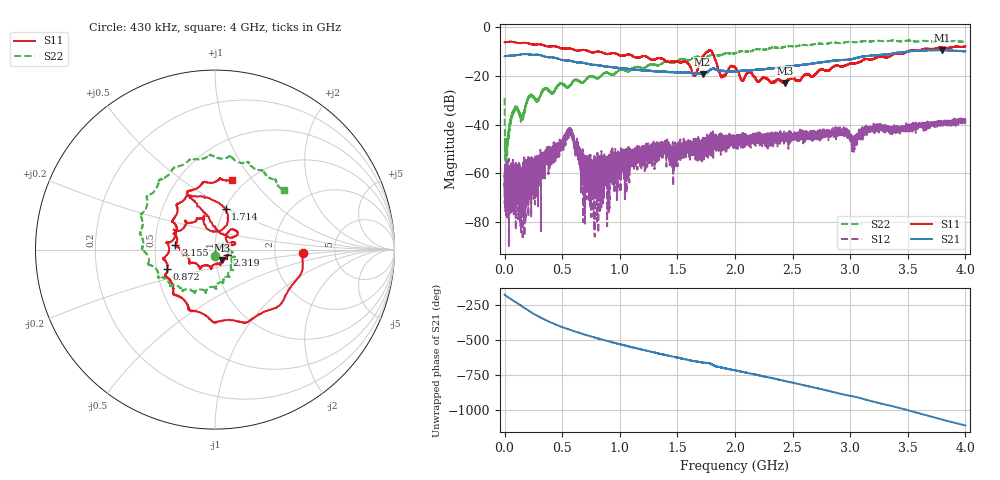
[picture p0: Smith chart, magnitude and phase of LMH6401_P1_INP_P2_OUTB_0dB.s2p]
!Keysight Technologies N9917A: A.08.18
!Date: Saturday, 27 May 2023 16:42:02
!Timezone: (GMT-07:00) Mountain Time (US & Canada)
!Model: N9917A
!Serial: MY52401314
!GPS Latitude:
!GPS Longitude:
!GPS TimeStamp: 0001-01-01 00:00:00Z
!GPS Seconds Since Last Read: 0
!CHECKSUM:1144455261
!Correction: S11(ON U)S21(ON U)S12(ON U)S22(ON U)
!S2P File: Measurements:S11,S21,S12,S22:
# Hz S DB R 50
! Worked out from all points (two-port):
!   10000 points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, 430 kHz to 4 GHz, reference 50 ohm
!   highest |S21| = -9.43 dB at 3.796 GHz (marker M1); lowest = -19.3 dB at 1.719 GHz (marker M2)
!   |S21| within 3 dB of the highest: start of sweep to 387.2 MHz; 3.078 GHz to end of sweep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
!   lowest |S11| = -23.1 dB at 2.432 GHz (marker M3), VSWR 1.15, Z = 53.8 - j6.24 ohm
!   |S11| at or under -10 dB: 728.3528 MHz to 729.8506 MHz (1.498 MHz wide, 0.205 % of centre); 736.3 MHz to 1.762 GHz (1.026 GHz wide, 82.1 % of centre); 1.797 GHz to 3.498 GHz (1.701 GHz wide, 64.2 % of centre)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
!   |S22| runs from -56.8 to -5.5 dB; largest |S21 - S12| = 0.33
!   S11 on the Smith chart (normalised r, x): 430 kHz: 2.90, -0.15; 872 MHz: 0.57, -0.13; 1.714 GHz: 1.01, +0.48; 2.319 GHz: 1.14, -0.07; 3.155 GHz: 0.64, +0.04; 4 GHz: 0.87, +0.80
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429997  -6.22 -2.3  -11.97 -175.9  -66.74 -127.0  -29.15 -93.4
2.242983e7  -6.18 -6.2  -11.81 169.1  -63.91 97.5  -53.37 -61.3
9.202931e7  -6.32 -20.2  -11.63 131.8  -59.26 111.4  -33.86 57.1
1.512289e8  -6.54 -35.5  -11.14 100.5  -59.54 98.6  -36.65 59.9
3.032277e8  -7.09 -66.5  -11.52 24.1  -60.74 99.5  -29.08 29.7
5.596258e8  -8.71 -113.5  -13.83 -65.7  -42.38 -20.6  -24.37 7.5
6.67225e8  -9.57 -130.9  -14.60 -95.4  -58.49 -75.4  -22.73 2.5
8.720235e8  -10.84 -158.3  -16.24 -143.8  -58.25 -62.0  -18.75 -22.3
1.33362e9  -12.77 136.3  -18.21 122.2  -48.19 -52.7  -15.66 -69.3
1.648418e9  -20.06 88.4  -19.04 67.3  -46.78 -100.3  -12.60 -102.6
1.713617e9  -12.60 75.4  -18.98 57.7  -55.05 -96.1  -12.58 -105.5
1.719217e9  -12.18 79.7  -19.25 56.4  -47.69 -105.3  -12.68 -107.0
1.794417e9  -9.82 116.6  -17.21 47.0  -43.26 -83.9  -11.50 -115.4
1.890416e9  -20.05 63.3  -18.00 19.5  -46.32 -115.3  -11.30 -125.9
2.000415e9  -16.46 49.9  -18.11 0.6  -46.42 -126.2  -10.67 -135.6
2.319213e9  -22.84 -23.8  -16.93 -54.1  -46.24 -164.4  -8.47 -166.7
2.431612e9  -23.09 -55.5  -16.42 -74.9  -45.48 -174.9  -8.13 -178.1
2.66681e9  -20.24 -111.3  -15.07 -118.3  -45.26 159.8  -7.29 158.8
3.154806e9  -13.07 172.9  -11.89 146.9  -42.41 107.7  -5.91 113.2
3.333605e9  -12.26 150.7  -11.18 110.8  -40.60 77.5  -5.75 95.1
3.795602e9  -8.37 99.1  -9.43 9.2  -39.06 27.1  -5.85 57.5
4e9  -7.97 76.3  -9.97 -33.7  -38.39 2.3  -5.79 40.7
